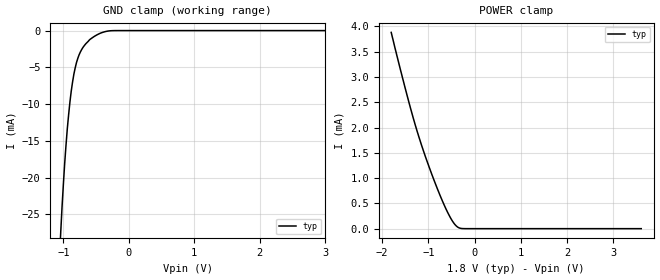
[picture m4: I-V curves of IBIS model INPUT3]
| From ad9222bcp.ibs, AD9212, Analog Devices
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[Model] INPUT3   |  Sense PIN
Model_type Input
C_comp 3pF NA NA
Vinl =0.36
Vinh =1.44
| variable typ   min   max
[Voltage Range] 1.800V NA NA
[GND Clamp Reference] 0.000V NA NA
[POWER Clamp Reference] 1.800V NA NA
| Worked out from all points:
|   GND clamp passes 1 mA (typ) near -0.56 V on its own axis
|   POWER clamp passes 1 mA (typ) near -0.89 V on its own axis
[GND Clamp]
| Voltage   I(typ)   I(min)   I(max)
-1.8V     -250mA     NA         NA
-1.04V    -27.38mA   NA         NA
-980mV    -18.08mA   NA         NA
-940mV    -13.36mA   NA         NA
-880mV    -8.247mA   NA         NA
-840mV    -5.952mA   NA         NA
-780mV    -3.791mA   NA         NA
-720mV    -2.569mA   NA         NA
-600mV    -1.248mA   NA         NA
-500mV    -647.1uA   NA         NA
-220mV    -3.86uA    NA         NA
3.6V      0A         NA         NA
[POWER Clamp]
| Voltage   I(typ)   I(min)   I(max)
-1.8V     3.881mA    NA         NA
-1.6V     3.141mA    NA         NA
-1.38V    2.372mA    NA         NA
-1.24V    1.926mA    NA         NA
-1.1V     1.528mA    NA         NA
-880mV    969.3uA    NA         NA
-660mV    475.7uA    NA         NA
-500mV    183.3uA    NA         NA
-380mV    41.7uA     NA         NA
-300mV    6.27uA     NA         NA
-200mV    231nA      NA         NA
3.6V      0A         NA         NA
